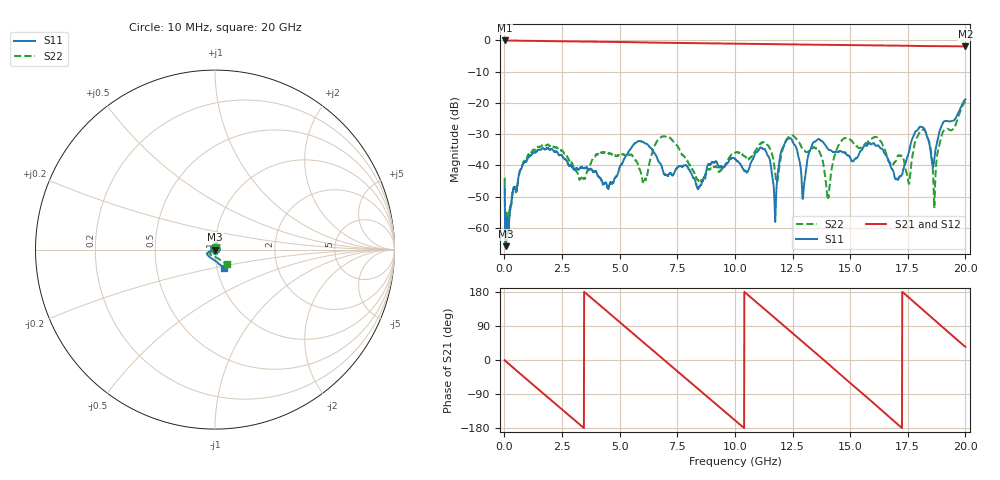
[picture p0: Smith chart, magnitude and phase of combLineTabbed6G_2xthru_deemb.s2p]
# GHz S RI R 50
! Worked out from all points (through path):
!   2000 points, 10 MHz to 20 GHz, reference 50 ohm
!   highest |S21| = 0.00 dB at 10 MHz (marker M1); lowest = -1.9 dB at 20 GHz (marker M2)
!   group delay of S21, straight-line fit = 145 ps
!   lowest |S11| = -65.9 dB at 80 MHz (marker M3), VSWR 1.00, Z = 50 + j0.0384 ohm
!   |S11| at or under -10 dB: start of sweep to end of sweep
!   |S22| runs from -65.6 to -19.6 dB; largest |S21 - S12| = 0.0013
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0.01  -0.000207 0.0047  0.9994 -0.0103  0.9998 -0.0108  0.000306 0.00629
0.08  0.000332 0.000384  0.9958 -0.075  0.9954 -0.075  0.00116 0.000583
1.7  0.0187 0.000199  0.0173 -0.9777  0.0172 -0.9771  0.021 -0.000783
3.35  0.0073 -0.00606  -0.9562 -0.0937  -0.9558 -0.0939  -0.00613 0.00119
5.06  0.0062 -0.00802  -0.1146 0.9366  -0.1142 0.9371  0.0121 -0.00785
6.08  -0.00103 -0.0228  0.6666 0.647  0.6672 0.6465  -0.00528 0.0022
6.68  -0.00893 -0.00769  0.8964 0.2093  0.8962 0.2085  0.0151 0.021
8.45  0.00139 0.00438  0.1811 -0.8846  0.1807 -0.8845  0.00302 -0.00476
10.01  -0.0126 0.00104  -0.8308 -0.3118  -0.8311 -0.3113  0.00787 0.0137
11.23  -0.0136 -0.0122  -0.6421 0.5961  -0.6416 0.5964  -0.00377 -0.0233
11.82  0.00453 0.00262  -0.2448 0.8338  -0.2443 0.8339  0.00428 -0.00345
12.26  0.0258 0.000251  0.0983 0.8595  0.0991 0.8593  0.0253 0.00785
12.97  -0.00248 -0.00265  0.5924 0.6203  0.593 0.6198  0.013 0.0124
13.34  -0.018 0.0109  0.7615 0.3888  0.7618 0.3881  -0.00251 0.0183
14.04  -0.0179 0.00345  0.8384 -0.1416  0.8384 -0.1425  -0.00288 -0.00099
14.53  -0.013 -0.0103  0.687 -0.4948  0.6862 -0.4953  0.00371 -0.0215
15.19  0.00496 -0.0114  0.2806 -0.7908  0.2798 -0.791  0.0117 -0.0177
16.67  0.0114 -0.00313  -0.711 -0.4283  -0.7114 -0.4276  0.0115 -0.00146
17.53  -0.00653 0.0141  -0.7965 0.2027  -0.7964 0.2035  -0.00523 0.0014
18.17  0.0167 0.0367  -0.5398 0.6078  -0.5392 0.6083  0.0257 0.0269
18.66  -0.013 0.00263  -0.2161 0.7807  -0.2151 0.781  0.000252 -0.00234
20  0.0523 -0.1014  0.6608 0.4527  0.6614 0.452  0.0664 -0.0805
